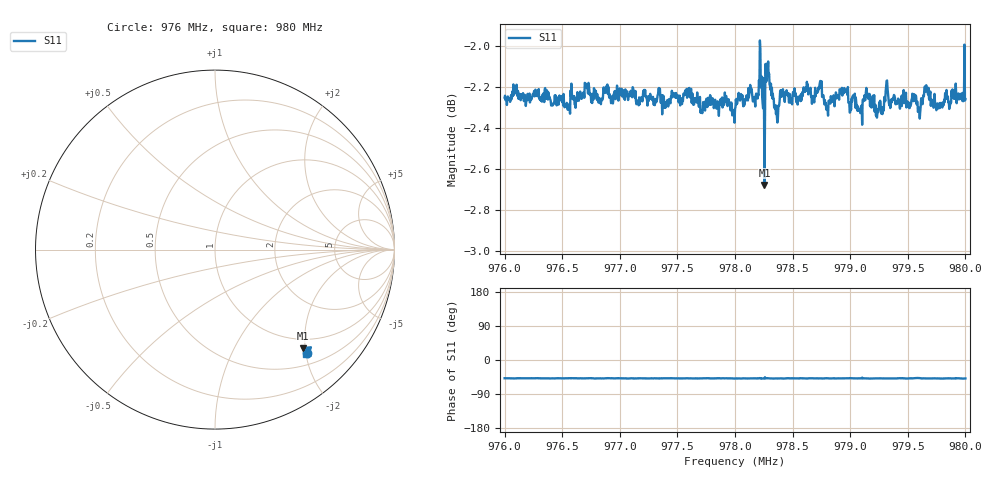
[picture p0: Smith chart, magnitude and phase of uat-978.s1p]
! Calibrated averaged scanner-service zoom
# Hz S RI R 50
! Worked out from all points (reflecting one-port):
!   1001 points, 976 MHz to 980 MHz, reference 50 ohm
!   lowest |S11| = -2.7 dB at 978.256 MHz (marker M1), VSWR 6.54, Z = 40.8 - j97.4 ohm
!   phase of S11 starts at -48 deg and turns -1 deg over the sweep
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9.76e8  0.5147 -0.5748
9.76084e8  0.5125 -0.5819
9.76128e8  0.5157 -0.5761
9.765e8  0.5113 -0.5752
9.77e8  0.517 -0.578
9.775e8  0.5099 -0.5789
9.7772e8  0.5118 -0.57
9.77912e8  0.5138 -0.5785
9.78e8  0.5058 -0.576
9.78228e8  0.5059 -0.5922
9.78256e8  0.488 -0.5493
9.7828e8  0.5226 -0.5842
9.78352e8  0.5048 -0.578
9.785e8  0.5133 -0.5776
9.7874e8  0.5153 -0.5839
9.78792e8  0.5106 -0.5715
9.7896e8  0.5128 -0.5809
9.79e8  0.5125 -0.5684
9.79088e8  0.5073 -0.5725
9.79156e8  0.5088 -0.5794
9.79252e8  0.5089 -0.5773
9.79316e8  0.5142 -0.5849
9.795e8  0.5082 -0.578
9.79576e8  0.5209 -0.5653
9.79664e8  0.5114 -0.5819
9.79788e8  0.508 -0.5777
9.79856e8  0.5129 -0.574
9.8e8  0.5083 -0.5795
